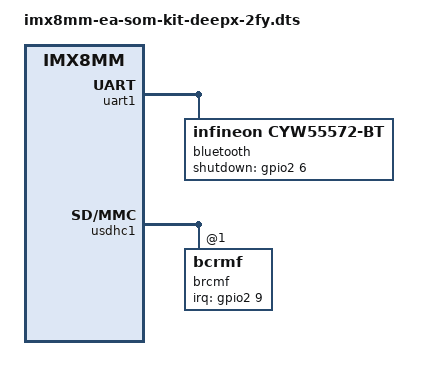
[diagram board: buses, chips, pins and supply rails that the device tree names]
/*
 * Copyright 2025 Embedded Artists AB
 *
 * The code contained herein is licensed under the GNU General Public
 * License. You may obtain a copy of the GNU General Public License
 * Version 2 or later at the following locations:
 *
 * http://www.opensource.org/licenses/gpl-license.html
 * http://www.gnu.org/copyleft/gpl.html
 */

/* For using onboard DeepX module and onboard 2FY.
   PCIe on Carrier Board not available.
   SDIO in M.2 key E connector on Carrier Board not available.
*/

/dts-v1/;

#include "imx8mm-ea-som-kit-deepx.dts"


/* Delete clashes from included DT */
/ {
	/delete-node/ modem-reset;
};

&uart1 {
	/delete-property/ resets;
};

/* Change to correct WL_REG_ON and BT_REG_ON */
&iomuxc {
	imx8mmea-som-kit {
		pinctrl_uart1_gpio: uart1grpgpio {
			fsl,pins = <
				MX8MM_IOMUXC_SD1_DATA4_GPIO2_IO6	0x16	/* BT_REG_ON */
			>;
		};
		pinctrl_usdhc1_gpio: usdhc1grpgpio {
			fsl,pins = <
				MX8MM_IOMUXC_SD1_RESET_B_GPIO2_IO10     0x16	/* WL_REG_ON_1V8 */
				MX8MM_IOMUXC_SD1_DATA7_GPIO2_IO9	0x156	/* WL_HOST_WAKE_1V8 */
			>;
		};
	};
};

/* Add child node to serial port node to create serdev device */
&uart1 {
	pinctrl-0 = <&pinctrl_uart1>, <&pinctrl_uart1_gpio>;
	bluetooth {
		compatible = "infineon,cyw55572-bt";
		shutdown-gpios = <&gpio2 6 GPIO_ACTIVE_HIGH>; /* BT_REG_ON */
		max-speed = <3000000>;
		brcm,requires-autobaud-mode;
	};
};

&usdhc1_pwrseq {
	reset-gpios = <&gpio2 10 GPIO_ACTIVE_LOW>; /* WL_REG_ON_1V8 */
};

&usdhc1 {
	pinctrl-0 = <&pinctrl_usdhc1>, <&pinctrl_usdhc1_gpio>;
	pinctrl-1 = <&pinctrl_usdhc1_100mhz>, <&pinctrl_usdhc1_gpio>;
	pinctrl-2 = <&pinctrl_usdhc1_200mhz>, <&pinctrl_usdhc1_gpio>;
	brcmf: bcrmf@1 {
		interrupt-parent = <&gpio2>;
		interrupts = <9 IRQ_TYPE_LEVEL_LOW>;  /* WL_HOST_WAKE_1V8 */
	};
};
